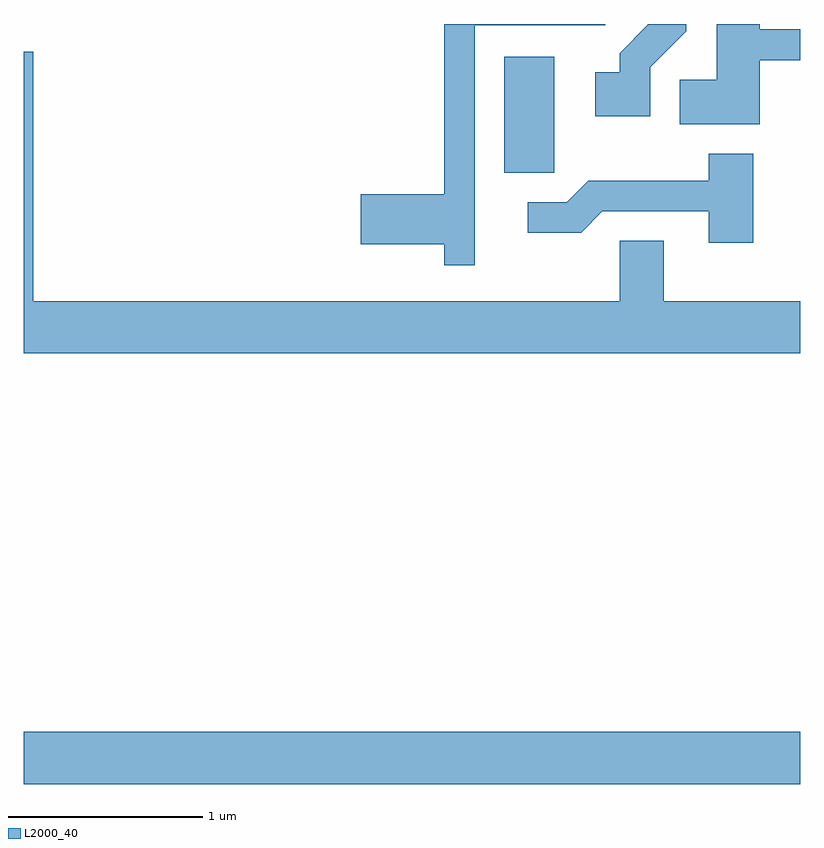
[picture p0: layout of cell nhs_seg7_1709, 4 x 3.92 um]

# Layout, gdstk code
import gdstk
lib = gdstk.Library(unit=1e-6, precision=1e-09)
def R(c, l, rs):  # rectangles x0, y0, x1, y1
    for r in rs: c.add(gdstk.rectangle(r[:2], r[2:], *l))
def P(c, l, *ps):  # polygons
    for p in ps: c.add(gdstk.Polygon(p, *l))
L2000_40 = (2000, 40)

nhs_seg7_1709 = lib.new_cell('nhs_seg7_1709')
R(nhs_seg7_1709, L2000_40, [(237.611,1694.336,241.611,1694.604), (240.086,1697.486,240.344,1698.084)])
P(nhs_seg7_1709, L2000_40, [(239.934,1698.246),(240.608,1698.246),(240.608,1698.252),(239.776,1698.252),(239.776,1697.374),(239.346,1697.374),(239.346,1697.116),(239.776,1697.116),(239.776,1697.008),(239.934,1697.008)],
  [(240.839,1698.029),(241.024,1698.214),(241.024,1698.252),(240.826,1698.252),(240.826,1698.247),(240.681,1698.102),(240.681,1698.004),(240.556,1698.004),(240.556,1697.776),(240.839,1697.776)],
  [(241.404,1698.066),(241.611,1698.066),(241.611,1698.224),(241.404,1698.224),(241.404,1698.252),(241.181,1698.252),(241.181,1697.964),(240.991,1697.964),(240.991,1697.736),(241.404,1697.736)],
  [(241.611,1696.824),(240.909,1696.824),(240.909,1697.134),(240.681,1697.134),(240.681,1696.824),(237.659,1696.824),(237.659,1698.109),(237.611,1698.109),(237.611,1696.556),(241.611,1696.556)],
  [(241.369,1697.584),(241.141,1697.584),(241.141,1697.444),(240.519,1697.444),(240.409,1697.334),(240.208,1697.334),(240.208,1697.176),(240.482,1697.176),(240.592,1697.286),(241.141,1697.286),(241.141,1697.126),(241.369,1697.126)])

lib.write_gds('nhs_seg7_1709.gds')
